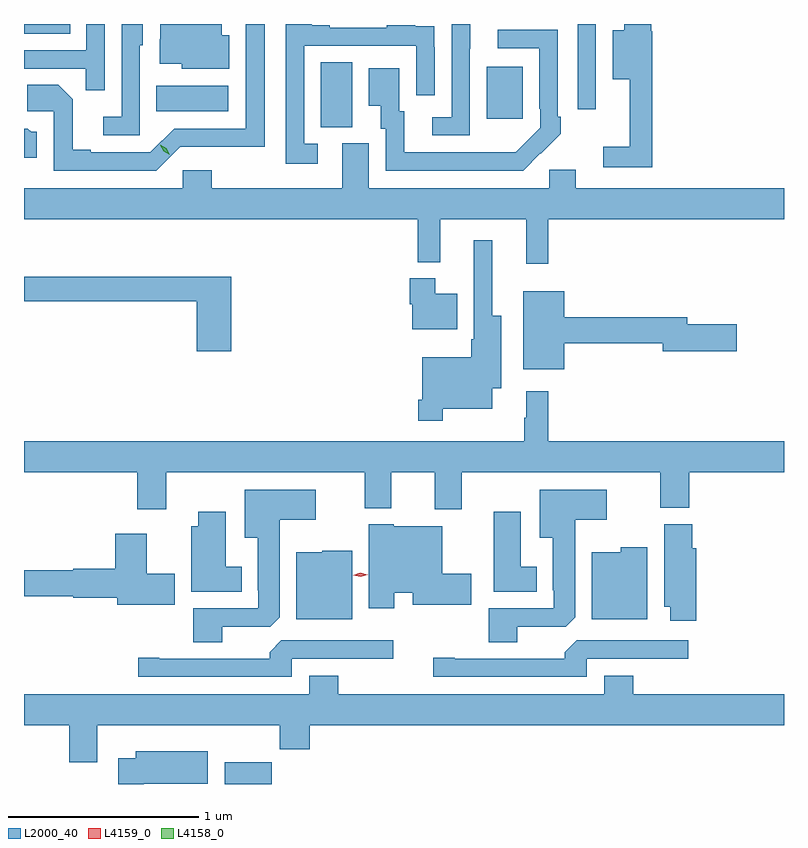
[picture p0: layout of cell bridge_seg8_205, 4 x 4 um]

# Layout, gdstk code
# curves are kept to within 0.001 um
import gdstk
lib = gdstk.Library(unit=1e-6, precision=1e-09)
def R(c, l, rs):  # rectangles x0, y0, x1, y1
    for r in rs: c.add(gdstk.rectangle(r[:2], r[2:], *l))
def P(c, l, *ps):  # polygons
    for p in ps: c.add(gdstk.Polygon(p, *l))
L2000_40 = (2000, 40)
L4158_0 = (4158, 0)
L4159_0 = (4159, 0)

bridge_seg8_205 = lib.new_cell('bridge_seg8_205')
R(bridge_seg8_205, L2000_40, [(173.915,1109.532,174.164,1109.646), (174.422,1112.989,174.586,1113.332), (175.295,1113.033,175.483,1113.307), (173.554,1113.074,173.935,1113.208), (175.773,1113.084,175.869,1113.532), (172.859,1113.482,173.102,1113.532)])
P(bridge_seg8_205, L2000_40, [(173.469,1113.42),(173.484,1113.42),(173.484,1113.532),(173.373,1113.532),(173.373,1113.043),(173.277,1113.043),(173.277,1112.946),(173.469,1112.946)],
  [(176.165,1113.495),(176.159,1113.495),(176.159,1113.532),(176.018,1113.532),(176.018,1113.499),(175.958,1113.499),(175.958,1113.242),(176.048,1113.242),(176.048,1112.887),(175.908,1112.887),(175.908,1112.778),(176.165,1112.778)],
  [(175.206,1113.403),(175.207,1113.403),(175.207,1113.532),(175.11,1113.532),(175.11,1113.042),(175.008,1113.042),(175.008,1112.946),(175.206,1112.946)],
  [(173.682,1112.886),(174.127,1112.885),(174.127,1113.532),(174.026,1113.532),(174.026,1112.982),(173.649,1112.982),(173.523,1112.856),(173.209,1112.856),(173.209,1112.869),(173.115,1112.869),(173.115,1113.136),(173.039,1113.212),(172.875,1113.212),(172.875,1113.072),(173.016,1113.072),(173.016,1112.76),(173.556,1112.76)],
  [(173.283,1113.532),(173.187,1113.532),(173.187,1113.393),(172.859,1113.393),(172.859,1113.297),(173.185,1113.297),(173.185,1113.184),(173.283,1113.184)],
  [(173.938,1113.472),(173.899,1113.472),(173.899,1113.532),(173.577,1113.532),(173.577,1113.452),(173.573,1113.452),(173.573,1113.323),(173.688,1113.323),(173.688,1113.296),(173.938,1113.296)],
  [(174.406,1112.901),(174.333,1112.901),(174.333,1113.417),(174.924,1113.417),(174.924,1113.156),(175.02,1113.156),(175.02,1113.41),(175.019,1113.41),(175.019,1113.519),(174.917,1113.519),(174.917,1113.526),(174.769,1113.526),(174.769,1113.513),(174.469,1113.513),(174.469,1113.526),(174.373,1113.526),(174.373,1113.532),(174.237,1113.532),(174.237,1112.796),(174.406,1112.796)],
  [(175.577,1112.851),(175.578,1112.85),(175.683,1112.955),(175.683,1113.043),(175.668,1113.043),(175.668,1113.501),(175.353,1113.501),(175.353,1113.405),(175.572,1113.405),(175.572,1113.085),(175.575,1113.085),(175.575,1112.985),(175.447,1112.857),(174.859,1112.856),(174.859,1113.072),(174.835,1113.072),(174.835,1113.298),(174.674,1113.298),(174.674,1113.101),(174.737,1113.101),(174.737,1112.982),(174.762,1112.982),(174.762,1112.76),(175.486,1112.76)],
  [(172.927,1112.964),(172.896,1112.964),(172.88,1112.98),(172.859,1112.98),(172.859,1112.828),(172.927,1112.828)],
  [(175.619,1112.504),(176.859,1112.504),(176.859,1112.668),(175.762,1112.668),(175.762,1112.766),(175.623,1112.766),(175.623,1112.668),(174.673,1112.668),(174.673,1112.904),(174.533,1112.904),(174.533,1112.668),(173.846,1112.668),(173.846,1112.761),(173.694,1112.761),(173.694,1112.668),(172.859,1112.668),(172.859,1112.504),(174.931,1112.504),(174.931,1112.279),(175.049,1112.279),(175.049,1112.504),(175.502,1112.504),(175.502,1112.271),(175.619,1112.271)],
  [(175.063,1111.508),(175.324,1111.508),(175.324,1111.616),(175.372,1111.616),(175.372,1111.996),(175.324,1111.996),(175.324,1112.395),(175.227,1112.395),(175.227,1111.873),(175.214,1111.873),(175.214,1111.777),(174.954,1111.777),(174.954,1111.555),(174.934,1111.555),(174.934,1111.443),(175.063,1111.443)],
  [(173.951,1112.203),(172.859,1112.203),(172.859,1112.074),(173.768,1112.074),(173.768,1111.809),(173.951,1111.809)],
  [(175.138,1112.113),(175.024,1112.113),(175.024,1112.194),(174.89,1112.194),(174.89,1112.058),(174.902,1112.058),(174.902,1111.925),(175.138,1111.925)],
  [(175.702,1111.852),(176.222,1111.852),(176.222,1111.81),(176.611,1111.81),(176.611,1111.952),(176.35,1111.952),(176.35,1111.988),(175.702,1111.988),(175.702,1112.125),(175.487,1112.125),(175.487,1111.715),(175.702,1111.715)],
  [(173.608,1111.172),(174.653,1111.172),(174.653,1110.983),(174.793,1110.983),(174.793,1111.172),(175.022,1111.172),(175.022,1110.978),(175.162,1110.978),(175.162,1111.172),(176.207,1111.172),(176.207,1110.985),(176.36,1110.985),(176.36,1111.172),(176.859,1111.172),(176.859,1111.336),(175.619,1111.336),(175.619,1111.6),(175.502,1111.6),(175.502,1111.46),(175.491,1111.46),(175.491,1111.336),(172.859,1111.336),(172.859,1111.172),(173.456,1111.172),(173.456,1110.978),(173.608,1110.978)],
  [(173.902,1110.36),(174.156,1110.36),(174.205,1110.409),(174.205,1110.923),(174.394,1110.923),(174.394,1111.081),(174.02,1111.081),(174.02,1110.827),(174.089,1110.827),(174.089,1110.553),(174.093,1110.553),(174.093,1110.456),(173.75,1110.456),(173.75,1110.277),(173.902,1110.277)],
  [(175.456,1110.36),(175.71,1110.36),(175.759,1110.409),(175.759,1110.923),(175.927,1110.923),(175.927,1111.081),(175.574,1111.081),(175.574,1110.827),(175.643,1110.827),(175.643,1110.553),(175.647,1110.553),(175.647,1110.456),(175.304,1110.456),(175.304,1110.277),(175.456,1110.277)],
  [(174.004,1110.676),(173.92,1110.676),(173.92,1110.964),(173.777,1110.964),(173.777,1110.889),(173.738,1110.889),(173.738,1110.545),(174.004,1110.545)],
  [(175.558,1110.676),(175.474,1110.676),(175.474,1110.964),(175.331,1110.964),(175.331,1110.545),(175.558,1110.545)],
  [(176.396,1110.774),(176.375,1110.774),(176.375,1110.9),(176.228,1110.9),(176.228,1110.464),(176.261,1110.464),(176.261,1110.39),(176.396,1110.39)],
  [(174.808,1110.539),(174.905,1110.539),(174.905,1110.476),(175.213,1110.476),(175.213,1110.639),(175.06,1110.639),(175.06,1110.889),(174.804,1110.889),(174.804,1110.898),(174.674,1110.898),(174.674,1110.456),(174.808,1110.456)],
  [(173.653,1110.639),(173.506,1110.639),(173.506,1110.85),(173.339,1110.85),(173.339,1110.664),(173.118,1110.664),(173.118,1110.656),(172.859,1110.656),(172.859,1110.52),(173.118,1110.52),(173.118,1110.512),(173.351,1110.512),(173.351,1110.476),(173.653,1110.476)],
  [(176.14,1110.778),(176.001,1110.778),(176.001,1110.751),(175.847,1110.751),(175.847,1110.398),(176.14,1110.398)],
  [(174.586,1110.76),(174.429,1110.76),(174.429,1110.751),(174.293,1110.751),(174.293,1110.398),(174.586,1110.398)],
  [(174.267,1110.192),(174.802,1110.192),(174.802,1110.288),(174.213,1110.288),(174.152,1110.226),(174.152,1110.192),(173.572,1110.192),(173.572,1110.197),(173.46,1110.197),(173.46,1110.096),(174.267,1110.096)],
  [(175.821,1110.192),(176.356,1110.192),(176.356,1110.288),(175.767,1110.288),(175.706,1110.226),(175.706,1110.192),(175.126,1110.192),(175.126,1110.197),(175.014,1110.197),(175.014,1110.096),(175.821,1110.096)],
  [(173.245,1109.84),(174.205,1109.84),(174.205,1109.716),(174.362,1109.716),(174.362,1109.84),(176.859,1109.84),(176.859,1110.004),(176.066,1110.004),(176.066,1110.103),(175.913,1110.103),(175.913,1110.004),(174.512,1110.004),(174.512,1110.103),(174.359,1110.103),(174.359,1110.004),(172.859,1110.004),(172.859,1109.84),(173.098,1109.84),(173.098,1109.646),(173.245,1109.646)],
  [(173.488,1109.534),(173.827,1109.534),(173.827,1109.704),(173.447,1109.704),(173.447,1109.668),(173.354,1109.668),(173.354,1109.532),(173.488,1109.532)])
P(bridge_seg8_205, L4158_0, [(173.625,1112.844),(173.594,1112.863),(173.576,1112.895),(173.576,1112.896),(173.576,1112.896),(173.608,1112.877),(173.626,1112.844),(173.626,1112.844)])
P(bridge_seg8_205, L4159_0, [(174.631,1110.623),(174.593,1110.632),(174.593,1110.632),(174.593,1110.632),(174.63,1110.643),(174.668,1110.634),(174.668,1110.634),(174.668,1110.633)])

lib.write_gds('bridge_seg8_205.gds')
